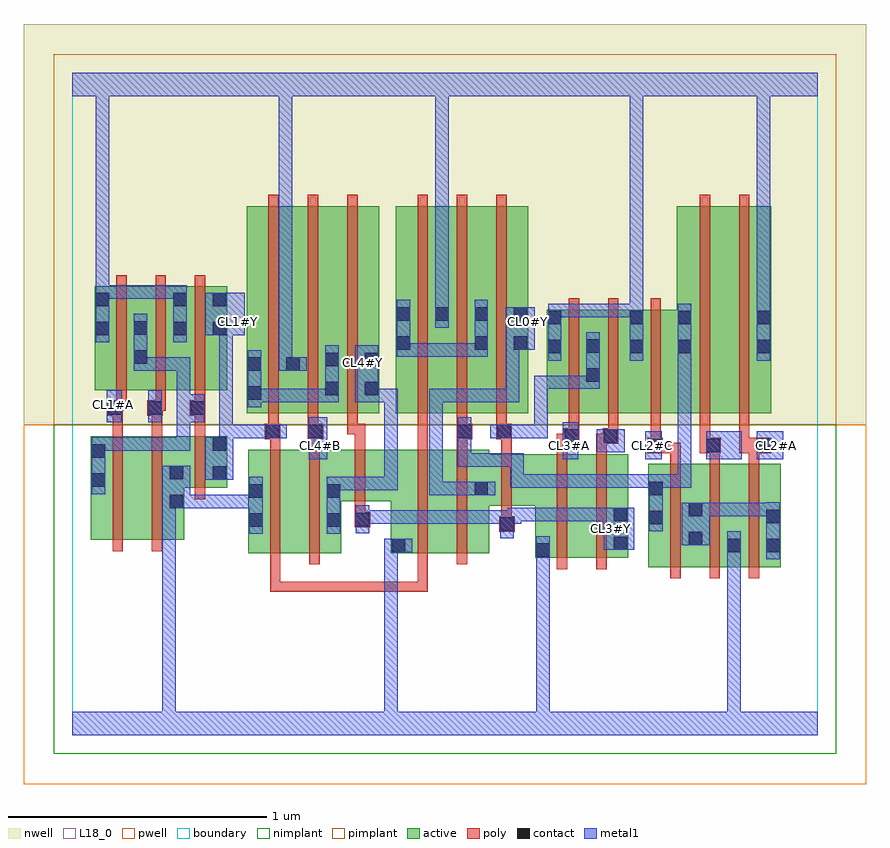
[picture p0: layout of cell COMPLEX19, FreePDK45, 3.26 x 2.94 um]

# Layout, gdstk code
import gdstk
lib = gdstk.Library(unit=1e-6, precision=1e-09)
def R(c, l, rs):  # rectangles x0, y0, x1, y1
    for r in rs: c.add(gdstk.rectangle(r[:2], r[2:], *l))
def A(c, l, x, y, w, h, nx, ny, dx, dy):  # array of equal rectangles
    R(c, l, [(x+i*dx, y+j*dy, x+i*dx+w, y+j*dy+h) for i in range(nx) for j in range(ny)])
active = (1, 0)
pwell = (2, 0)
nwell = (3, 0)
nimplant = (4, 0)
pimplant = (5, 0)
poly = (9, 0)
contact = (10, 0)
metal1 = (11, 0)
L18_0 = (18, 0)
boundary = (235, 0)

complex19 = lib.new_cell('COMPLEX19')
A(complex19, active, 0.822, 1.244, 0.06, 0.8, 3, 1, 0.152, 0)
R(complex19, active, [(2.226,0.65,2.438,1.05), (2.378,0.65,2.586,1.05), (2.526,0.65,2.738,1.05), (2.526,0.65,2.586,1.046), (1.788,0.686,1.968,1.086), (1.788,0.686,1.848,0.956), (1.968,0.686,2.148,1.086), (2.088,0.686,2.148,1.086), (0.68,0.704,0.74,1.104), (0.68,0.704,0.86,1.104), (0.86,0.704,1.04,1.104), (0.98,0.704,1.04,1.104), (1.23,0.704,1.43,1.104), (1.23,0.704,1.29,0.904), (1.43,0.704,1.61,1.104), (1.55,0.704,1.61,0.984), (2.678,0.704,2.738,1.05), (2.378,0.73,2.438,1.05), (0.072,0.756,0.132,1.156), (0.072,0.756,0.252,1.156), (0.252,0.756,0.432,1.156), (0.372,0.756,0.432,1.156), (2.226,0.756,2.286,1.05), (1.55,0.886,1.848,1.086), (0.98,0.904,1.29,1.104), (0.372,0.956,0.598,1.156), (0.538,0.956,0.598,1.156), (0.674,1.244,0.734,2.044), (0.674,1.244,0.882,2.044), (0.822,1.244,1.034,2.044), (0.974,1.244,1.186,2.044), (1.25,1.244,1.31,2.044), (1.25,1.244,1.458,2.044), (1.398,1.244,1.61,2.044), (1.55,1.244,1.61,2.044), (1.55,1.244,1.762,2.044), (1.702,1.244,1.762,2.044), (1.834,1.244,2.042,1.644), (1.834,1.244,1.894,1.644), (1.982,1.244,2.21,1.644), (2.15,1.244,2.21,1.644), (2.15,1.244,2.396,1.644), (2.336,1.244,2.396,2.044), (2.336,1.244,2.52,2.044), (2.52,1.244,2.7,2.044), (2.64,1.244,2.7,2.044), (1.398,1.278,1.458,2.044), (0.086,1.334,0.294,1.734), (0.086,1.334,0.146,1.734), (0.234,1.334,0.446,1.734), (0.386,1.334,0.598,1.734), (0.538,1.334,0.598,1.714), (1.982,1.362,2.042,1.644), (0.234,1.416,0.294,1.706), (0.386,1.526,0.446,1.734)])
R(complex19, pwell, [(-0.188,-0.188,3.068,1.2)])
R(complex19, nwell, [(-0.188,1.2,3.068,2.748)])
R(complex19, nimplant, [(-0.072,-0.072,2.952,1.2)])
R(complex19, pimplant, [(-0.072,1.2,2.952,2.632)])
A(complex19, poly, 2.31, 0.606, 0.04, 0.488, 3, 1, 0.152, 0)
A(complex19, poly, 2.31, 1.054, 0.04, 0.076, 3, 1, 0.152, 0)
A(complex19, poly, 0.758, 1.164, 0.04, 0.076, 3, 1, 0.152, 0)
A(complex19, poly, 1.334, 1.164, 0.04, 0.076, 3, 1, 0.152, 0)
A(complex19, poly, 0.758, 1.2, 0.04, 0.888, 3, 1, 0.152, 0)
A(complex19, poly, 1.334, 1.2, 0.04, 0.888, 3, 1, 0.152, 0)
A(complex19, poly, 0.17, 1.254, 0.04, 0.076, 3, 1, 0.152, 0)
A(complex19, poly, 0.17, 1.29, 0.04, 0.488, 3, 1, 0.152, 0)
R(complex19, poly, [(0.764,0.554,0.804,0.594), (0.764,0.554,0.804,0.594), (0.764,0.554,0.804,0.594), (0.764,0.554,0.804,0.7), (0.764,0.554,0.94,0.594), (0.9,0.554,0.94,0.594), (0.9,0.554,0.94,0.594), (0.9,0.554,0.94,0.594), (0.9,0.554,1.08,0.594), (1.04,0.554,1.08,0.594), (1.04,0.554,1.08,0.594), (1.04,0.554,1.08,0.594), (1.04,0.554,1.374,0.594), (1.334,0.554,1.374,0.594), (1.334,0.554,1.374,0.594), (1.334,0.554,1.374,0.594), (1.334,0.554,1.374,0.7), (1.872,0.642,1.912,1.13), (2.024,0.642,2.064,1.13), (0.764,0.66,0.804,1.148), (0.916,0.66,0.956,1.148), (1.334,0.66,1.374,1.148), (1.486,0.66,1.526,1.148), (0.156,0.712,0.196,1.2), (0.308,0.712,0.348,1.2), (1.65,0.786,1.71,0.846), (1.092,0.804,1.152,0.864), (1.658,0.806,1.698,0.882), (1.092,0.824,1.132,0.9), (1.658,0.842,1.698,1.13), (1.092,0.86,1.132,1.148), (0.474,0.912,0.514,1.2), (1.658,1.09,1.698,1.184), (1.872,1.09,1.912,1.166), (2.024,1.09,2.064,1.166), (2.222,1.09,2.282,1.15), (2.242,1.09,2.282,1.13), (2.242,1.09,2.35,1.13), (2.424,1.09,2.506,1.15), (2.462,1.09,2.502,1.13), (2.462,1.09,2.502,1.13), (2.576,1.09,2.7,1.15), (2.614,1.09,2.654,1.13), (2.614,1.09,2.654,1.13), (0.764,1.108,0.804,1.184), (0.916,1.108,0.956,1.184), (1.092,1.108,1.132,1.204), (1.334,1.108,1.374,1.204), (1.486,1.108,1.526,1.184), (2.234,1.11,2.274,1.24), (2.424,1.11,2.464,1.24), (2.576,1.11,2.616,1.24), (1.872,1.126,1.938,1.166), (1.898,1.126,1.938,1.166), (1.898,1.126,1.958,1.186), (2.024,1.126,2.09,1.166), (2.05,1.126,2.09,1.166), (2.05,1.126,2.11,1.186), (0.744,1.144,0.804,1.204), (0.764,1.144,0.804,1.184), (0.764,1.144,0.804,1.184), (0.91,1.144,0.97,1.204), (1.486,1.144,1.546,1.204), (1.638,1.144,1.698,1.204), (1.658,1.144,1.698,1.184), (1.658,1.144,1.698,1.184), (1.918,1.146,1.958,1.24), (2.07,1.146,2.11,1.24), (0.156,1.16,0.196,1.274), (0.308,1.16,0.348,1.274), (0.474,1.16,0.514,1.274), (0.91,1.164,0.95,1.204), (0.91,1.164,0.95,1.204), (1.062,1.164,1.102,1.204), (1.062,1.164,1.102,1.204), (1.062,1.164,1.132,1.204), (1.334,1.164,1.374,1.204), (1.334,1.164,1.374,1.204), (1.334,1.164,1.374,1.204), (1.486,1.164,1.526,1.204), (1.486,1.164,1.526,1.204), (1.918,1.2,1.958,1.688), (2.07,1.2,2.11,1.688), (2.234,1.2,2.274,1.688), (2.424,1.2,2.464,2.088), (2.576,1.2,2.616,2.088), (0.136,1.234,0.196,1.294), (0.29,1.234,0.35,1.294), (0.454,1.234,0.514,1.294), (0.156,1.254,0.196,1.294), (0.156,1.254,0.21,1.294), (0.31,1.254,0.35,1.294), (0.31,1.254,0.362,1.294), (0.474,1.254,0.514,1.294), (0.474,1.254,0.514,1.294)])
A(complex19, contact, 1.402, 1.602, 0.052, 0.052, 3, 1, 0.152, 0)
R(complex19, contact, [(1.792,0.69,1.844,0.742), (1.234,0.708,1.286,0.76), (2.53,0.708,2.582,0.76), (2.682,0.708,2.734,0.76), (2.092,0.716,2.144,0.768), (2.382,0.734,2.434,0.786), (1.654,0.79,1.706,0.842), (0.684,0.806,0.736,0.858), (0.984,0.806,1.036,0.858), (1.096,0.808,1.148,0.86), (2.23,0.816,2.282,0.868), (2.682,0.82,2.734,0.872), (2.092,0.828,2.144,0.88), (2.382,0.846,2.434,0.898), (0.376,0.878,0.428,0.93), (0.684,0.918,0.736,0.97), (0.984,0.918,1.036,0.97), (1.554,0.928,1.606,0.98), (2.23,0.928,2.282,0.98), (0.076,0.96,0.128,1.012), (0.542,0.988,0.594,1.04), (0.376,0.99,0.428,1.042), (0.076,1.072,0.128,1.124), (2.226,1.094,2.278,1.146), (2.45,1.094,2.502,1.146), (2.644,1.094,2.696,1.146), (0.542,1.1,0.594,1.152), (1.902,1.13,1.954,1.182), (2.054,1.13,2.106,1.182), (0.748,1.148,0.8,1.2), (0.914,1.148,0.966,1.2), (1.49,1.148,1.542,1.2), (1.642,1.148,1.694,1.2), (0.14,1.238,0.192,1.29), (0.294,1.238,0.346,1.29), (0.458,1.238,0.51,1.29), (0.678,1.296,0.73,1.348), (0.978,1.314,1.03,1.366), (1.13,1.314,1.182,1.366), (1.986,1.366,2.038,1.418), (0.678,1.408,0.73,1.46), (0.826,1.408,0.878,1.46), (0.978,1.426,1.03,1.478), (1.13,1.426,1.182,1.478), (0.238,1.436,0.29,1.488), (1.838,1.476,1.89,1.528), (2.154,1.476,2.206,1.528), (2.34,1.476,2.392,1.528), (2.644,1.476,2.696,1.528), (1.986,1.478,2.038,1.53), (1.254,1.49,1.306,1.542), (1.554,1.49,1.606,1.542), (1.706,1.49,1.758,1.542), (0.09,1.546,0.142,1.598), (0.39,1.546,0.442,1.598), (0.542,1.546,0.594,1.598), (0.238,1.548,0.29,1.6), (1.838,1.588,1.89,1.64), (2.154,1.588,2.206,1.64), (2.34,1.588,2.392,1.64), (2.644,1.588,2.696,1.64), (1.254,1.602,1.306,1.654), (0.09,1.658,0.142,1.71), (0.39,1.658,0.442,1.71), (0.542,1.658,0.594,1.71)])
R(complex19, metal1, [(0,0,2.88,0.092), (0.348,0.04,0.4,0.092), (0.348,0.04,0.4,0.092), (0.348,0.04,0.4,0.092), (0.348,0.04,0.4,0.092), (0.348,0.04,0.4,0.092), (0.348,0.04,0.4,0.092), (0.348,0.04,0.4,0.092), (0.348,0.04,0.4,0.092), (0.348,0.04,0.4,0.092), (0.348,0.04,0.4,0.092), (0.348,0.04,0.4,0.092), (0.348,0.04,0.4,0.092), (0.348,0.04,0.4,0.93), (1.206,0.04,1.258,0.092), (1.206,0.04,1.258,0.092), (1.206,0.04,1.258,0.092), (1.206,0.04,1.258,0.092), (1.206,0.04,1.258,0.092), (1.206,0.04,1.258,0.092), (1.206,0.04,1.258,0.092), (1.206,0.04,1.258,0.092), (1.206,0.04,1.258,0.092), (1.206,0.04,1.258,0.092), (1.206,0.04,1.258,0.092), (1.206,0.04,1.258,0.092), (1.206,0.04,1.258,0.76), (1.792,0.04,1.844,0.092), (1.792,0.04,1.844,0.092), (1.792,0.04,1.844,0.092), (1.792,0.04,1.844,0.092), (1.792,0.04,1.844,0.092), (1.792,0.04,1.844,0.092), (1.792,0.04,1.844,0.092), (1.792,0.04,1.844,0.092), (1.792,0.04,1.844,0.092), (1.792,0.04,1.844,0.092), (1.792,0.04,1.844,0.092), (1.792,0.04,1.844,0.092), (1.792,0.04,1.844,0.714), (2.53,0.04,2.582,0.092), (2.53,0.04,2.582,0.092), (2.53,0.04,2.582,0.092), (2.53,0.04,2.582,0.092), (2.53,0.04,2.582,0.092), (2.53,0.04,2.582,0.092), (2.53,0.04,2.582,0.092), (2.53,0.04,2.582,0.092), (2.53,0.04,2.582,0.092), (2.53,0.04,2.582,0.092), (2.53,0.04,2.582,0.092), (2.53,0.04,2.582,0.092), (2.53,0.04,2.582,0.732), (1.792,0.662,1.844,0.77), (2.53,0.68,2.582,0.788), (2.682,0.68,2.734,0.9), (1.206,0.708,1.314,0.76), (2.054,0.716,2.172,0.88), (2.354,0.734,2.462,0.898), (1.654,0.762,1.706,0.87), (0.684,0.778,0.736,0.998), (0.984,0.778,1.036,0.998), (1.096,0.78,1.148,0.888), (2.23,0.788,2.282,1.008), (1.096,0.818,1.148,0.87), (1.096,0.818,1.148,0.87), (1.096,0.818,1.32,0.87), (1.268,0.818,1.32,0.87), (1.268,0.818,1.32,0.87), (1.268,0.818,1.32,0.87), (1.268,0.818,1.432,0.87), (1.38,0.818,1.432,0.87), (1.38,0.818,1.542,0.87), (1.49,0.818,1.542,0.87), (1.49,0.818,1.542,0.87), (1.49,0.818,1.542,0.87), (1.49,0.818,1.706,0.87), (1.654,0.818,1.734,0.87), (1.682,0.818,1.734,0.88), (1.682,0.828,1.854,0.88), (1.802,0.828,1.854,0.88), (1.802,0.828,1.854,0.88), (1.802,0.828,1.854,0.88), (1.802,0.828,1.998,0.88), (1.946,0.828,1.998,0.88), (1.946,0.828,2.106,0.88), (2.054,0.828,2.106,0.88), (2.054,0.828,2.106,0.88), (2.41,0.846,2.572,0.898), (2.52,0.846,2.572,0.898), (2.52,0.846,2.572,0.898), (2.52,0.846,2.572,0.898), (2.52,0.846,2.734,0.898), (2.682,0.846,2.734,0.898), (2.682,0.846,2.734,0.898), (0.348,0.878,0.456,1.042), (0.404,0.878,0.566,0.93), (0.514,0.878,0.566,0.93), (0.514,0.878,0.566,0.93), (0.514,0.878,0.566,0.93), (0.514,0.878,0.736,0.93), (1.38,0.928,1.432,0.98), (1.38,0.928,1.432,0.98), (1.38,0.928,1.432,0.98), (1.38,0.928,1.432,0.98), (1.38,0.928,1.432,0.98), (1.38,0.928,1.578,0.98), (1.38,0.928,1.432,1.338), (1.526,0.928,1.634,0.98), (0.076,0.932,0.128,1.152), (0.984,0.946,1.146,0.998), (1.094,0.946,1.146,0.998), (1.094,0.946,1.146,0.998), (1.094,0.946,1.146,0.998), (1.094,0.946,1.258,0.998), (1.206,0.946,1.258,0.998), (1.206,0.946,1.258,0.998), (1.206,0.946,1.258,0.998), (1.206,0.946,1.258,0.998), (1.206,0.946,1.258,0.998), (1.206,0.946,1.258,1.338), (1.692,0.956,1.744,1.008), (1.692,0.956,1.888,1.008), (1.692,0.956,1.744,1.09), (1.836,0.956,1.888,1.008), (1.836,0.956,1.968,1.008), (1.916,0.956,1.968,1.008), (1.916,0.956,1.998,1.008), (1.946,0.956,1.998,1.008), (1.946,0.956,2.156,1.008), (2.104,0.956,2.156,1.008), (2.104,0.956,2.156,1.008), (2.104,0.956,2.156,1.008), (2.104,0.956,2.282,1.008), (2.23,0.956,2.282,1.008), (2.23,0.956,2.282,1.008), (2.23,0.956,2.392,1.008), (2.34,0.956,2.392,1.008), (2.34,0.956,2.392,1.008), (2.34,0.956,2.392,1.008), (2.34,0.956,2.392,1.5), (0.514,0.988,0.622,1.152), (1.49,1.038,1.652,1.09), (1.49,1.038,1.542,1.172), (1.6,1.038,1.652,1.09), (1.6,1.038,1.744,1.09), (1.692,1.038,1.744,1.09), (0.914,1.066,0.986,1.228), (1.894,1.066,1.954,1.21), (2.214,1.066,2.278,1.174), (2.45,1.066,2.586,1.174), (2.644,1.066,2.746,1.174), (2.026,1.094,2.134,1.182), (0.076,1.1,0.128,1.152), (0.076,1.1,0.128,1.152), (0.076,1.1,0.272,1.152), (0.22,1.1,0.272,1.152), (0.22,1.1,0.272,1.152), (0.22,1.1,0.272,1.152), (0.22,1.1,0.456,1.152), (0.404,1.1,0.456,1.152), (0.404,1.1,0.456,1.262), (0.568,1.1,0.62,1.152), (0.568,1.1,0.62,1.152), (0.568,1.1,0.62,1.2), (1.49,1.12,1.542,1.172), (1.49,1.12,1.542,1.228), (0.568,1.148,0.62,1.2), (0.568,1.148,0.676,1.2), (0.568,1.148,0.62,1.598), (0.624,1.148,0.676,1.2), (0.624,1.148,0.772,1.2), (0.72,1.148,0.828,1.2), (1.614,1.148,1.722,1.2), (1.67,1.148,1.722,1.2), (1.67,1.148,1.722,1.2), (1.67,1.148,1.836,1.2), (1.784,1.148,1.836,1.2), (1.784,1.148,1.836,1.39), (0.134,1.21,0.192,1.334), (0.294,1.21,0.346,1.334), (0.404,1.21,0.456,1.262), (0.404,1.21,0.456,1.262), (0.404,1.21,0.456,1.262), (0.404,1.21,0.51,1.262), (0.404,1.21,0.456,1.46), (0.458,1.21,0.51,1.318), (0.678,1.268,0.73,1.488), (0.678,1.286,0.73,1.338), (0.678,1.286,0.73,1.338), (0.678,1.286,0.856,1.338), (0.804,1.286,0.856,1.338), (0.804,1.286,0.856,1.338), (0.804,1.286,0.856,1.338), (0.804,1.286,1.03,1.338), (0.978,1.286,1.03,1.506), (1.094,1.286,1.182,1.506), (1.13,1.286,1.182,1.338), (1.13,1.286,1.182,1.338), (1.13,1.286,1.182,1.338), (1.13,1.286,1.182,1.338), (1.13,1.286,1.258,1.338), (1.206,1.286,1.258,1.338), (1.38,1.286,1.432,1.338), (1.38,1.286,1.542,1.338), (1.49,1.286,1.542,1.338), (1.49,1.286,1.542,1.338), (1.49,1.286,1.542,1.338), (1.49,1.286,1.542,1.338), (1.49,1.286,1.542,1.338), (1.49,1.286,1.726,1.338), (1.674,1.286,1.726,1.338), (1.674,1.286,1.726,1.338), (1.674,1.286,1.726,1.338), (1.674,1.286,1.726,1.542), (1.784,1.338,1.836,1.39), (1.784,1.338,1.854,1.39), (1.802,1.338,1.854,1.39), (1.802,1.338,2.038,1.39), (1.986,1.338,2.038,1.558), (0.238,1.408,0.29,1.46), (0.238,1.408,0.29,1.46), (0.238,1.408,0.29,1.628), (0.238,1.408,0.456,1.46), (0.404,1.408,0.456,1.46), (0.798,1.408,0.906,1.46), (0.798,1.408,0.85,2.52), (1.838,1.448,1.89,1.668), (2.154,1.448,2.206,1.668), (2.34,1.448,2.392,1.5), (2.34,1.448,2.392,1.5), (2.34,1.448,2.392,1.668), (2.644,1.448,2.696,1.668), (1.254,1.462,1.306,1.514), (1.254,1.462,1.306,1.514), (1.254,1.462,1.306,1.682), (1.254,1.462,1.43,1.514), (1.378,1.462,1.43,1.514), (1.378,1.462,1.43,1.514), (1.378,1.462,1.43,1.514), (1.378,1.462,1.606,1.514), (1.554,1.462,1.606,1.682), (1.674,1.49,1.786,1.654), (0.09,1.518,0.142,1.738), (0.39,1.518,0.442,1.738), (0.514,1.546,0.666,1.71), (0.568,1.546,0.62,1.598), (0.568,1.546,0.62,1.598), (0.568,1.546,0.62,1.598), (0.568,1.546,0.62,1.598), (1.402,1.574,1.454,1.682), (1.838,1.616,1.958,1.668), (1.906,1.616,1.958,1.668), (1.906,1.616,1.998,1.668), (1.946,1.616,1.998,1.668), (1.946,1.616,2.156,1.668), (2.104,1.616,2.156,1.668), (2.104,1.616,2.206,1.668), (2.154,1.616,2.206,1.668), (2.154,1.616,2.206,1.668), (2.154,1.616,2.206,2.52), (2.644,1.616,2.696,1.668), (2.644,1.616,2.696,1.668), (2.644,1.616,2.696,1.668), (2.644,1.616,2.696,1.668), (2.644,1.616,2.696,1.668), (2.644,1.616,2.696,1.668), (2.644,1.616,2.696,1.668), (2.644,1.616,2.696,1.668), (2.644,1.616,2.696,2.52), (1.402,1.63,1.454,1.682), (1.402,1.63,1.454,1.682), (1.402,1.63,1.454,1.682), (1.402,1.63,1.454,1.682), (1.402,1.63,1.454,2.52), (0.09,1.686,0.142,1.738), (0.09,1.686,0.142,1.738), (0.09,1.686,0.142,1.738), (0.09,1.686,0.142,1.738), (0.09,1.686,0.142,1.738), (0.09,1.686,0.142,1.738), (0.09,1.686,0.252,1.738), (0.09,1.686,0.142,2.52), (0.2,1.686,0.252,1.738), (0.2,1.686,0.252,1.738), (0.2,1.686,0.252,1.738), (0.2,1.686,0.442,1.738), (0,2.468,2.88,2.56), (0.09,2.468,0.142,2.52), (0.09,2.468,0.142,2.52), (0.09,2.468,0.142,2.52), (0.09,2.468,0.142,2.52), (0.09,2.468,0.142,2.52), (0.09,2.468,0.142,2.52), (0.09,2.468,0.142,2.52), (0.09,2.468,0.142,2.52), (0.09,2.468,0.142,2.52), (0.09,2.468,0.142,2.52), (0.09,2.468,0.142,2.52), (0.09,2.468,0.142,2.52), (0.798,2.468,0.85,2.52), (0.798,2.468,0.85,2.52), (0.798,2.468,0.85,2.52), (0.798,2.468,0.85,2.52), (0.798,2.468,0.85,2.52), (0.798,2.468,0.85,2.52), (0.798,2.468,0.85,2.52), (0.798,2.468,0.85,2.52), (1.402,2.468,1.454,2.52), (1.402,2.468,1.454,2.52), (1.402,2.468,1.454,2.52), (1.402,2.468,1.454,2.52), (2.154,2.468,2.206,2.52), (2.154,2.468,2.206,2.52), (2.154,2.468,2.206,2.52), (2.154,2.468,2.206,2.52), (2.154,2.468,2.206,2.52), (2.154,2.468,2.206,2.52), (2.154,2.468,2.206,2.52), (2.154,2.468,2.206,2.52), (2.154,2.468,2.206,2.52), (2.154,2.468,2.206,2.52), (2.154,2.468,2.206,2.52), (2.154,2.468,2.206,2.52), (2.154,2.468,2.206,2.52), (2.154,2.468,2.206,2.52)])
A(complex19, L18_0, 1.894, 1.094, 0.052, 0.052, 3, 1, 0.16, 0)
R(complex19, L18_0, [(0,0,2.88,0.092), (0.348,0.04,0.4,0.092), (0.348,0.04,0.4,0.092), (0.348,0.04,0.4,0.092), (0.348,0.04,0.4,0.092), (0.348,0.04,0.4,0.092), (0.348,0.04,0.4,0.092), (0.348,0.04,0.4,0.092), (0.348,0.04,0.4,0.092), (0.348,0.04,0.4,0.092), (0.348,0.04,0.4,0.092), (0.348,0.04,0.4,0.092), (0.348,0.04,0.4,0.092), (0.348,0.04,0.4,0.93), (1.206,0.04,1.258,0.092), (1.206,0.04,1.258,0.092), (1.206,0.04,1.258,0.092), (1.206,0.04,1.258,0.092), (1.206,0.04,1.258,0.092), (1.206,0.04,1.258,0.092), (1.206,0.04,1.258,0.092), (1.206,0.04,1.258,0.092), (1.206,0.04,1.258,0.092), (1.206,0.04,1.258,0.092), (1.206,0.04,1.258,0.092), (1.206,0.04,1.258,0.092), (1.206,0.04,1.258,0.76), (1.792,0.04,1.844,0.092), (1.792,0.04,1.844,0.092), (1.792,0.04,1.844,0.092), (1.792,0.04,1.844,0.092), (1.792,0.04,1.844,0.092), (1.792,0.04,1.844,0.092), (1.792,0.04,1.844,0.092), (1.792,0.04,1.844,0.092), (1.792,0.04,1.844,0.092), (1.792,0.04,1.844,0.092), (1.792,0.04,1.844,0.092), (1.792,0.04,1.844,0.092), (1.792,0.04,1.844,0.714), (2.53,0.04,2.582,0.092), (2.53,0.04,2.582,0.092), (2.53,0.04,2.582,0.092), (2.53,0.04,2.582,0.092), (2.53,0.04,2.582,0.092), (2.53,0.04,2.582,0.092), (2.53,0.04,2.582,0.092), (2.53,0.04,2.582,0.092), (2.53,0.04,2.582,0.092), (2.53,0.04,2.582,0.092), (2.53,0.04,2.582,0.092), (2.53,0.04,2.582,0.092), (2.53,0.04,2.582,0.732), (1.792,0.662,1.844,0.77), (2.53,0.68,2.582,0.788), (1.206,0.708,1.314,0.76), (2.054,0.716,2.172,0.88), (1.654,0.762,1.706,0.87), (2.054,0.774,2.106,0.826), (0.684,0.778,0.736,0.998), (0.984,0.778,1.036,0.998), (1.096,0.78,1.148,0.888), (1.096,0.818,1.148,0.87), (1.096,0.818,1.148,0.87), (1.096,0.818,1.32,0.87), (1.268,0.818,1.32,0.87), (1.268,0.818,1.32,0.87), (1.268,0.818,1.32,0.87), (1.268,0.818,1.432,0.87), (1.38,0.818,1.432,0.87), (1.38,0.818,1.542,0.87), (1.49,0.818,1.542,0.87), (1.49,0.818,1.542,0.87), (1.49,0.818,1.542,0.87), (1.49,0.818,1.706,0.87), (1.654,0.818,1.734,0.87), (1.682,0.818,1.734,0.88), (1.682,0.828,1.854,0.88), (1.802,0.828,1.854,0.88), (1.802,0.828,1.854,0.88), (1.802,0.828,1.854,0.88), (1.802,0.828,1.998,0.88), (1.946,0.828,1.998,0.88), (1.946,0.828,2.106,0.88), (2.054,0.828,2.106,0.88), (2.054,0.828,2.106,0.88), (0.348,0.878,0.456,1.042), (0.404,0.878,0.566,0.93), (0.514,0.878,0.566,0.93), (0.514,0.878,0.566,0.93), (0.514,0.878,0.566,0.93), (0.514,0.878,0.736,0.93), (1.38,0.928,1.432,0.98), (1.38,0.928,1.432,0.98), (1.38,0.928,1.432,0.98), (1.38,0.928,1.432,0.98), (1.38,0.928,1.432,0.98), (1.38,0.928,1.432,1.338), (1.38,0.928,1.578,0.98), (1.526,0.928,1.634,0.98), (0.984,0.946,1.146,0.998), (1.094,0.946,1.146,0.998), (1.094,0.946,1.146,0.998), (1.094,0.946,1.146,0.998), (1.094,0.946,1.258,0.998), (1.206,0.946,1.258,0.998), (1.206,0.946,1.258,0.998), (1.206,0.946,1.258,0.998), (1.206,0.946,1.258,0.998), (1.206,0.946,1.258,0.998), (1.206,0.946,1.258,1.338), (0.514,0.988,0.622,1.152), (0.914,1.066,0.986,1.228), (1.894,1.066,1.954,1.21), (2.214,1.066,2.278,1.174), (2.45,1.066,2.586,1.174), (2.644,1.066,2.746,1.174), (0.934,1.094,0.986,1.146), (2.026,1.094,2.134,1.182), (2.534,1.094,2.586,1.146), (2.694,1.094,2.746,1.146), (0.568,1.1,0.62,1.152), (0.568,1.1,0.62,1.152), (0.568,1.1,0.62,1.2), (0.568,1.148,0.62,1.2), (0.568,1.148,0.62,1.598), (0.568,1.148,0.676,1.2), (0.624,1.148,0.676,1.2), (0.624,1.148,0.772,1.2), (0.72,1.148,0.828,1.2), (1.614,1.148,1.722,1.2), (1.67,1.148,1.722,1.2), (1.67,1.148,1.722,1.2), (1.67,1.148,1.836,1.2), (1.784,1.148,1.836,1.2), (1.784,1.148,1.836,1.39), (0.134,1.21,0.192,1.334), (0.294,1.21,0.346,1.334), (0.134,1.254,0.186,1.306), (0.294,1.254,0.346,1.306), (1.094,1.286,1.182,1.506), (1.13,1.286,1.182,1.338), (1.13,1.286,1.182,1.338), (1.13,1.286,1.182,1.338), (1.13,1.286,1.182,1.338), (1.13,1.286,1.258,1.338), (1.206,1.286,1.258,1.338), (1.38,1.286,1.432,1.338), (1.38,1.286,1.542,1.338), (1.49,1.286,1.542,1.338), (1.49,1.286,1.542,1.338), (1.49,1.286,1.542,1.338), (1.49,1.286,1.542,1.338), (1.49,1.286,1.542,1.338), (1.49,1.286,1.726,1.338), (1.674,1.286,1.726,1.338), (1.674,1.286,1.726,1.338), (1.674,1.286,1.726,1.338), (1.674,1.286,1.726,1.542), (1.784,1.338,1.836,1.39), (1.784,1.338,1.854,1.39), (1.802,1.338,1.854,1.39), (1.802,1.338,2.038,1.39), (1.986,1.338,2.038,1.558), (0.798,1.408,0.906,1.46), (0.798,1.408,0.85,2.52), (1.094,1.414,1.146,1.466), (1.838,1.448,1.89,1.668), (2.154,1.448,2.206,1.668), (2.644,1.448,2.696,1.668), (1.674,1.49,1.786,1.654), (0.09,1.518,0.142,1.738), (0.39,1.518,0.442,1.738), (0.514,1.546,0.666,1.71), (0.568,1.546,0.62,1.598), (0.568,1.546,0.62,1.598), (0.568,1.546,0.62,1.598), (0.568,1.546,0.62,1.598), (0.614,1.574,0.666,1.626), (1.402,1.574,1.454,1.682), (1.734,1.574,1.786,1.626), (1.838,1.616,1.958,1.668), (1.906,1.616,1.958,1.668), (1.906,1.616,1.998,1.668), (1.946,1.616,1.998,1.668), (1.946,1.616,2.156,1.668), (2.104,1.616,2.156,1.668), (2.104,1.616,2.206,1.668), (2.154,1.616,2.206,1.668), (2.154,1.616,2.206,1.668), (2.154,1.616,2.206,2.52), (2.644,1.616,2.696,1.668), (2.644,1.616,2.696,1.668), (2.644,1.616,2.696,1.668), (2.644,1.616,2.696,1.668), (2.644,1.616,2.696,1.668), (2.644,1.616,2.696,1.668), (2.644,1.616,2.696,1.668), (2.644,1.616,2.696,1.668), (2.644,1.616,2.696,2.52), (1.402,1.63,1.454,1.682), (1.402,1.63,1.454,1.682), (1.402,1.63,1.454,1.682), (1.402,1.63,1.454,1.682), (1.402,1.63,1.454,2.52), (0.09,1.686,0.142,1.738), (0.09,1.686,0.142,1.738), (0.09,1.686,0.142,1.738), (0.09,1.686,0.142,1.738), (0.09,1.686,0.142,1.738), (0.09,1.686,0.142,1.738), (0.09,1.686,0.142,2.52), (0.09,1.686,0.252,1.738), (0.2,1.686,0.252,1.738), (0.2,1.686,0.252,1.738), (0.2,1.686,0.252,1.738), (0.2,1.686,0.442,1.738), (0,2.468,2.88,2.56), (0.09,2.468,0.142,2.52), (0.09,2.468,0.142,2.52), (0.09,2.468,0.142,2.52), (0.09,2.468,0.142,2.52), (0.09,2.468,0.142,2.52), (0.09,2.468,0.142,2.52), (0.09,2.468,0.142,2.52), (0.09,2.468,0.142,2.52), (0.09,2.468,0.142,2.52), (0.09,2.468,0.142,2.52), (0.09,2.468,0.142,2.52), (0.09,2.468,0.142,2.52), (0.798,2.468,0.85,2.52), (0.798,2.468,0.85,2.52), (0.798,2.468,0.85,2.52), (0.798,2.468,0.85,2.52), (0.798,2.468,0.85,2.52), (0.798,2.468,0.85,2.52), (0.798,2.468,0.85,2.52), (0.798,2.468,0.85,2.52), (1.402,2.468,1.454,2.52), (1.402,2.468,1.454,2.52), (1.402,2.468,1.454,2.52), (1.402,2.468,1.454,2.52), (2.154,2.468,2.206,2.52), (2.154,2.468,2.206,2.52), (2.154,2.468,2.206,2.52), (2.154,2.468,2.206,2.52), (2.154,2.468,2.206,2.52), (2.154,2.468,2.206,2.52), (2.154,2.468,2.206,2.52), (2.154,2.468,2.206,2.52), (2.154,2.468,2.206,2.52), (2.154,2.468,2.206,2.52), (2.154,2.468,2.206,2.52), (2.154,2.468,2.206,2.52), (2.154,2.468,2.206,2.52), (2.154,2.468,2.206,2.52)])
R(complex19, boundary, [(0,0,2.88,2.56)])
complex19.add(gdstk.Label('CL0#Y', (1.76,1.6), layer=11, texttype=0))
complex19.add(gdstk.Label('CL1#A', (0.16,1.28), layer=11, texttype=0))
complex19.add(gdstk.Label('CL1#B', (0.32,1.28), layer=11, texttype=0))
complex19.add(gdstk.Label('CL1#Y', (0.64,1.6), layer=11, texttype=0))
complex19.add(gdstk.Label('CL2#A', (2.72,1.12), layer=11, texttype=0))
complex19.add(gdstk.Label('CL2#B', (2.56,1.12), layer=11, texttype=0))
complex19.add(gdstk.Label('CL2#C', (2.24,1.12), layer=11, texttype=0))
complex19.add(gdstk.Label('CL3#A', (1.92,1.12), layer=11, texttype=0))
complex19.add(gdstk.Label('CL3#B', (2.08,1.12), layer=11, texttype=0))
complex19.add(gdstk.Label('CL3#Y', (2.08,0.8), layer=11, texttype=0))
complex19.add(gdstk.Label('CL4#B', (0.96,1.12), layer=11, texttype=0))
complex19.add(gdstk.Label('CL4#Y', (1.12,1.44), layer=11, texttype=0))

lib.write_gds('COMPLEX19.gds')
